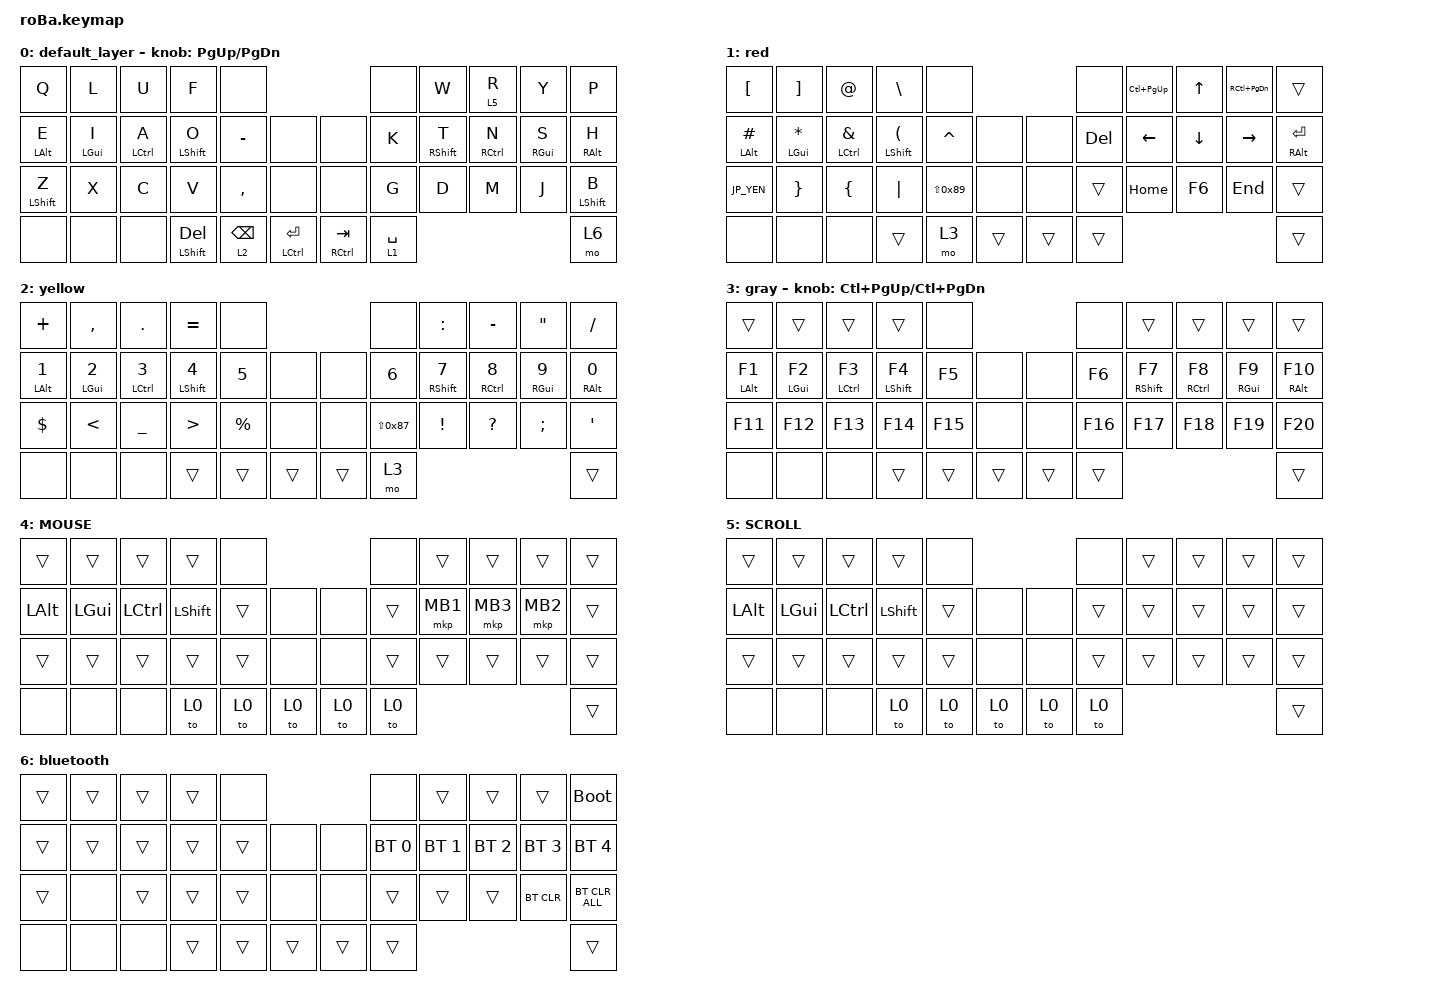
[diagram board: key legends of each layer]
#include <behaviors.dtsi>
#include <dt-bindings/zmk/bt.h>
#include <dt-bindings/zmk/keys.h>
#include <dt-bindings/zmk/pointing.h>

//OS設定を日本語キーボードのまま使用するための変換定義
#define JP_DQUOTE       AT                // "
#define JP_AMPERSAND    CARET             // &
#define JP_QUOTE        AMPERSAND         // '
#define JP_EQUAL        UNDER             // =
#define JP_CARET        EQUAL             // ^
#define JP_YEN          0x89              // ¥
#define JP_PLUS         COLON             // +
#define JP_TILDE        PLUS              // ~
#define JP_PIPE         LS(0x89)          // |
#define JP_AT           LEFT_BRACKET      // @
#define JP_COLON        SINGLE_QUOTE      // :
#define JP_ASTERISK     DOUBLE_QUOTES     // *
#define JP_BACKQUOTE    LEFT_BRACE        // `
#define JP_UNDERSCORE   LS(0x87)          // _
#define JP_LBRACKET     RIGHT_BRACKET     // [
#define JP_RBRACKET     BACKSLASH         // ]
#define JP_LPAREN       ASTERISK          // (
#define JP_RPAREN       LEFT_PARENTHESIS  // )
#define JP_LBRACE       RIGHT_BRACE       // {
#define JP_RBRACE       PIPE              // }

&mt {
    flavor = "balanced";
    quick-tap-ms = <0>;
};

&trackball {
    automouse-layer = <4>;
    scroll-layers = <5>;

    // arrows {
    //     layers = <3>;
    //     bindings =
    //         <&kp RIGHT_ARROW>,
    //         <&kp LEFT_ARROW>,
    //         <&kp UP_ARROW>,
    //         <&kp DOWN_ARROW>;
    //     tick = <10>;
    //     wait-ms = <5>;
    //     tap-ms = <5>;
    // };
};

/ {
    combos {
        compatible = "zmk,combos";

        esc {
            bindings = <&kp K_APPLICATION>;
            key-positions = <0 10>;
            timeout-ms = <50>;
        };

        APPLICATION {
            bindings = <&kp ESCAPE>;
            key-positions = <1 11>;
            timeout-ms = <50>;
        };

        f2 {
            bindings = <&kp F2>;
            key-positions = <2 12>;
            timeout-ms = <50>;
        };

        muhenkan {
            bindings = <&kp INT_MUHENKAN>;
            key-positions = <3 13>;
            timeout-ms = <50>;
        };

        henkan {
            bindings = <&kp INT_HENKAN>;
            key-positions = <6 18>;
            timeout-ms = <50>;
        };

        comma {
            bindings = <&kp COMMA>;
            key-positions = <7 19>;
            timeout-ms = <50>;
        };

        dot {
            bindings = <&kp PERIOD>;
            key-positions = <8 20>;
            timeout-ms = <50>;
        };
    };

    // Red(1) と Yellow(2) を同時に有効にすると Gray(3) へ
    conditional_layers {
        compatible = "zmk,conditional-layers";

        function_layer {
            if-layers = <1 2>;
            then-layer = <3>;
        };
    };

    macros {
        to_layer_0: to_layer_0 {
            compatible = "zmk,behavior-macro-one-param";
            #binding-cells = <1>;
            bindings = <&to 0 &macro_param_1to1 &kp MACRO_PLACEHOLDER>;
            label = "TO_LAYER_0";
        };
    };

    behaviors {
        // ホームロウ修飾用。直前 150ms 以内に他キーを打っていたら必ずタップ扱い
        hrm: home_row_mod {
            compatible = "zmk,behavior-hold-tap";
            #binding-cells = <2>;
            bindings = <&kp>, <&kp>;
            flavor = "balanced";
            tapping-term-ms = <200>;
            quick-tap-ms = <0>;
            require-prior-idle-ms = <150>;
        };

        lt_to_layer_0: lt_to_layer_0 {
            compatible = "zmk,behavior-hold-tap";
            label = "LAYER_TAP_TO_0";
            bindings = <&mo>, <&to_layer_0>;

            #binding-cells = <2>;
            tapping-term-ms = <200>;
        };
    };

    // 未使用ポジション: 4 5 15 16 27 28 34 35 36 (全レイヤー &none)
    keymap {
        compatible = "zmk,keymap";

        default_layer {
            bindings = <
&kp Q              &kp L            &kp U                &kp F                  &none                                                           &none        &kp W               &lt 5 R               &kp Y             &kp P
&hrm LEFT_ALT E    &hrm LEFT_GUI I  &hrm LEFT_CONTROL A  &hrm LEFT_SHIFT O      &kp MINUS        &none                   &none                  &kp K        &hrm RIGHT_SHIFT T  &hrm RIGHT_CONTROL N  &hrm RIGHT_GUI S  &hrm RIGHT_ALT H
&hrm LEFT_SHIFT Z  &kp X            &kp C                &kp V                  &kp COMMA        &none                   &none                  &kp G        &kp D               &kp M                 &kp J             &hrm LEFT_SHIFT B
&none              &none            &none                &mt LEFT_SHIFT DELETE  &lt 2 BACKSPACE  &mt LEFT_CONTROL ENTER  &mt RIGHT_CONTROL TAB  &lt 1 SPACE                                                              &mo 6
            >;

            sensor-bindings = <&inc_dec_kp PG_UP PAGE_DOWN>;
        };

        red {
            bindings = <
&kp JP_AT           &kp JP_LBRACKET          &kp JP_DQUOTE               &kp JP_RBRACKET            &none                             &none       &kp LC(PAGE_UP)  &kp UP_ARROW    &kp RC(PAGE_DOWN)  &trans
&hrm LEFT_ALT HASH  &hrm LEFT_GUI JP_LPAREN  &hrm LEFT_CONTROL JP_QUOTE  &hrm LEFT_SHIFT JP_RPAREN  &kp JP_AMPERSAND  &none   &none   &kp DELETE  &kp LEFT         &kp DOWN_ARROW  &kp RIGHT          &hrm RIGHT_ALT ENTER
&kp JP_YEN          &kp JP_LBRACE            &kp JP_BACKQUOTE            &kp JP_RBRACE              &kp JP_PIPE       &none   &none   &trans      &kp HOME         &kp F6          &kp END            &trans
&none               &none                    &none                       &trans                     &mo 3             &trans  &trans  &trans                                                          &trans
            >;
        };

        yellow {
            bindings = <
&kp JP_TILDE            &kp COMMA               &kp PERIOD                  &kp JP_CARET              &none                         &none              &kp JP_PLUS                &kp MINUS                    &kp JP_ASTERISK          &kp SLASH
&hrm LEFT_ALT NUMBER_1  &hrm LEFT_GUI NUMBER_2  &hrm LEFT_CONTROL NUMBER_3  &hrm LEFT_SHIFT NUMBER_4  &kp NUMBER_5  &none   &none   &kp NUMBER_6       &hrm RIGHT_SHIFT NUMBER_7  &hrm RIGHT_CONTROL NUMBER_8  &hrm RIGHT_GUI NUMBER_9  &hrm RIGHT_ALT NUMBER_0
&kp DOLLAR              &kp LESS_THAN           &kp JP_EQUAL                &kp GREATER_THAN          &kp PERCENT   &none   &none   &kp JP_UNDERSCORE  &kp EXCL                   &kp QUESTION                 &kp SEMI                 &kp JP_COLON
&none                   &none                   &none                       &trans                    &trans        &trans  &trans  &mo 3                                                                                               &trans
            >;
        };

        gray {
            bindings = <
&trans            &trans            &trans                &trans              &none                    &none    &trans               &trans                 &trans             &trans
&hrm LEFT_ALT F1  &hrm LEFT_GUI F2  &hrm LEFT_CONTROL F3  &hrm LEFT_SHIFT F4  &kp F5   &none   &none   &kp F6   &hrm RIGHT_SHIFT F7  &hrm RIGHT_CONTROL F8  &hrm RIGHT_GUI F9  &hrm RIGHT_ALT F10
&kp F11           &kp F12           &kp F13               &kp F14             &kp F15  &none   &none   &kp F16  &kp F17              &kp F18                &kp F19            &kp F20
&none             &none             &none                 &trans              &trans   &trans  &trans  &trans                                                                  &trans
            >;

            sensor-bindings = <&inc_dec_kp LC(PAGE_UP) LC(PAGE_DOWN)>;
        };

        MOUSE {
            bindings = <
&trans        &trans        &trans            &trans          &none                 &none   &trans    &trans    &trans    &trans
&kp LEFT_ALT  &kp LEFT_GUI  &kp LEFT_CONTROL  &kp LEFT_SHIFT  &trans  &none  &none  &trans  &mkp MB1  &mkp MB3  &mkp MB2  &trans
&trans        &trans        &trans            &trans          &trans  &none  &none  &trans  &trans    &trans    &trans    &trans
&none         &none         &none             &to 0           &to 0   &to 0  &to 0  &to 0                                 &trans
            >;
        };

        SCROLL {
            bindings = <
&trans        &trans        &trans            &trans          &none                 &none   &trans  &trans  &trans  &trans
&kp LEFT_ALT  &kp LEFT_GUI  &kp LEFT_CONTROL  &kp LEFT_SHIFT  &trans  &none  &none  &trans  &trans  &trans  &trans  &trans
&trans        &trans        &trans            &trans          &trans  &none  &none  &trans  &trans  &trans  &trans  &trans
&none         &none         &none             &to 0           &to 0   &to 0  &to 0  &to 0                           &trans
            >;
        };

        bluetooth {
            bindings = <
&trans  &trans  &trans  &trans  &none                   &none         &trans        &trans        &trans        &bootloader
&trans  &trans  &trans  &trans  &trans  &none   &none   &bt BT_SEL 0  &bt BT_SEL 1  &bt BT_SEL 2  &bt BT_SEL 3  &bt BT_SEL 4
&trans  &none   &trans  &trans  &trans  &none   &none   &trans        &trans        &trans        &bt BT_CLR    &bt BT_CLR_ALL
&none   &none   &none   &trans  &trans  &trans  &trans  &trans                                                  &trans
            >;
        };
    };
};
